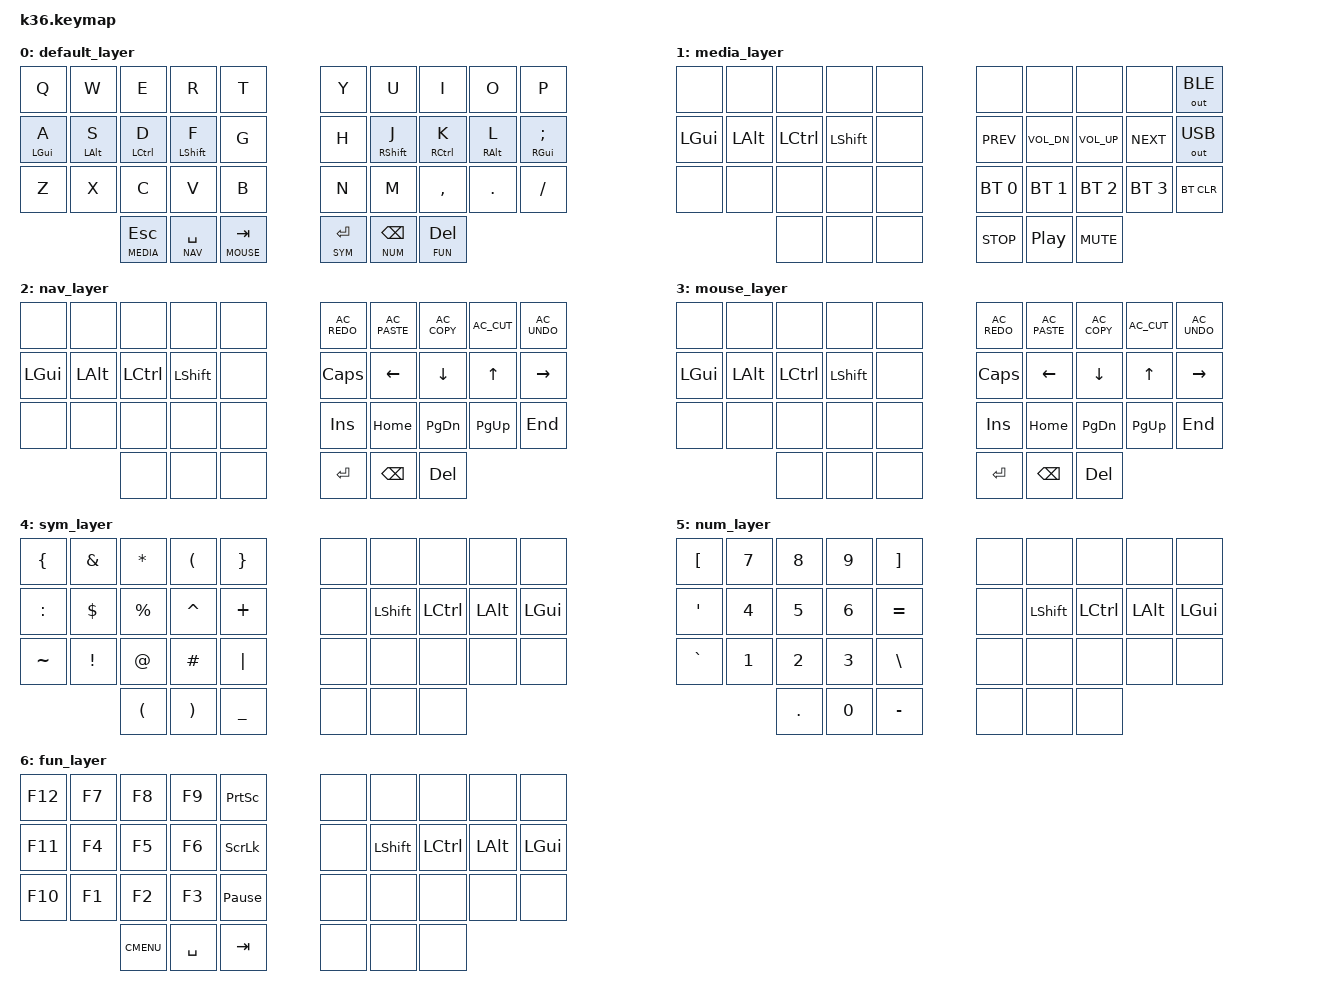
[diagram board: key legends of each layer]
#include <behaviors.dtsi>
#include <dt-bindings/zmk/keys.h>
#include <dt-bindings/zmk/bt.h>
#include <dt-bindings/zmk/ext_power.h>
#include <dt-bindings/zmk/outputs.h>

#define DEFAULT 0
#define MEDIA 1
#define NAV 2
#define MOUSE 3
#define SYM 4
#define NUM 5
#define FUN 6

/ {
	behaviors {
		hm: homerow_mods {
			compatible = "zmk,behavior-hold-tap";
			label = "HOMEROW_MODS";
			#binding-cells = <2>;
			tapping-term-ms = <200>;
			quick_tap_ms = <125>;
			global-quick-tap;
			flavor = "tap-preferred";
			bindings = <&kp>, <&kp>;
		};
  };

	keymap {
		compatible = "zmk,keymap";

		default_layer {
			bindings = <
// ╭───────────────┬───────────────┬───────────────┬───────────────┬───────────────╮   ╭───────────────┬───────────────┬───────────────┬───────────────┬───────────────╮
	   &kp Q           &kp W           &kp E           &kp R           &kp T               &kp Y           &kp U           &kp I           &kp O           &kp P   
// ├───────────────┼───────────────┼───────────────┼───────────────┼───────────────┤   ├───────────────┼───────────────┼───────────────┼───────────────┼───────────────┤
     &hm LGUI A      &hm LALT S      &hm LCTRL D     &hm LSHFT F     &kp G               &kp H           &hm RSHFT J     &hm RCTRL K     &hm RALT L      &hm RGUI SEMI
// ├───────────────┼───────────────┼───────────────┼───────────────┼───────────────┤   ├───────────────┼───────────────┼───────────────┼───────────────┼───────────────┤
	   &kp Z           &kp X           &kp C           &kp V           &kp B               &kp N           &kp M           &kp COMMA       &kp DOT         &kp FSLH
// ╰───────────────┴───────────────┴───────────────┼───────────────┼───────────────┤   ├───────────────┼───────────────┼───────────────┴───────────────┴───────────────╯
	                                   &lt MEDIA ESC   &lt NAV SPC     &lt MOUSE TAB       &lt SYM RET     &lt NUM BSPC    &lt FUN DEL
//                                 ╰───────────────┴───────────────┴───────────────╯   ╰───────────────┴───────────────┴───────────────╯
>;
		};

		media_layer {
			bindings = <
// ╭───────────────┬───────────────┬───────────────┬───────────────┬───────────────╮   ╭───────────────┬───────────────┬───────────────┬───────────────┬───────────────╮
     &none           &none           &none           &none           &none               &none           &none           &none           &none           &out OUT_BLE
// ├───────────────┼───────────────┼───────────────┼───────────────┼───────────────┤   ├───────────────┼───────────────┼───────────────┼───────────────┼───────────────┤
	   &kp LGUI        &kp LALT        &kp LCTRL       &kp LSHIFT      &none               &kp C_PREV      &kp C_VOL_DN    &kp C_VOL_UP    &kp C_NEXT      &out OUT_USB
// ├───────────────┼───────────────┼───────────────┼───────────────┼───────────────┤   ├───────────────┼───────────────┼───────────────┼───────────────┼───────────────┤
	   &none           &none           &none           &none           &none               &bt BT_SEL 0    &bt BT_SEL 1    &bt BT_SEL 2    &bt BT_SEL 3    &bt BT_CLR
// ╰───────────────┴───────────────┴───────────────┼───────────────┼───────────────┤   ├───────────────┼───────────────┼───────────────┴───────────────┴───────────────╯
	                                   &none           &none           &none               &kp C_STOP      &kp C_PP        &kp C_MUTE
//                                 ╰───────────────┴───────────────┴───────────────╯   ╰───────────────┴───────────────┴───────────────╯
>;
		};

		nav_layer {
			bindings = <
// ╭───────────────┬───────────────┬───────────────┬───────────────┬───────────────╮   ╭───────────────┬───────────────┬───────────────┬───────────────┬───────────────╮
	   &none           &none           &none           &none           &none               &kp C_AC_REDO   &kp C_AC_PASTE  &kp C_AC_COPY   &kp C_AC_CUT    &kp C_AC_UNDO
// ├───────────────┼───────────────┼───────────────┼───────────────┼───────────────┤   ├───────────────┼───────────────┼───────────────┼───────────────┼───────────────┤
	   &kp LGUI        &kp LALT        &kp LCTRL       &kp LSHIFT      &none               &kp CAPSLOCK    &kp LEFT        &kp DOWN        &kp UP          &kp RIGHT       
// ├───────────────┼───────────────┼───────────────┼───────────────┼───────────────┤   ├───────────────┼───────────────┼───────────────┼───────────────┼───────────────┤
	   &none           &none           &none           &none           &none               &kp INSERT      &kp HOME        &kp PG_DN       &kp PG_UP       &kp END         
// ╰───────────────┴───────────────┴───────────────┼───────────────┼───────────────┤   ├───────────────┼───────────────┼───────────────┴───────────────┴───────────────╯
	                                   &none           &none           &none               &kp RET         &kp BSPC        &kp DEL
//                                 ╰───────────────┴───────────────┴───────────────╯   ╰───────────────┴───────────────┴───────────────╯
>;
		};

    /* This needs to be implemented when mouse keys hits ZMK's main branch */
		mouse_layer {
			bindings = <
// ╭───────────────┬───────────────┬───────────────┬───────────────┬───────────────╮   ╭───────────────┬───────────────┬───────────────┬───────────────┬───────────────╮
	   &none           &none           &none           &none           &none               &kp C_AC_REDO   &kp C_AC_PASTE  &kp C_AC_COPY   &kp C_AC_CUT   &kp C_AC_UNDO
// ├───────────────┼───────────────┼───────────────┼───────────────┼───────────────┤   ├───────────────┼───────────────┼───────────────┼───────────────┼───────────────┤
	   &kp LGUI        &kp LALT        &kp LCTRL       &kp LSHIFT      &none               &kp CAPSLOCK    &kp LEFT        &kp DOWN        &kp UP          &kp RIGHT      
// ├───────────────┼───────────────┼───────────────┼───────────────┼───────────────┤   ├───────────────┼───────────────┼───────────────┼───────────────┼───────────────┤
	   &none           &none           &none           &none           &none               &kp INSERT      &kp HOME        &kp PG_DN       &kp PG_UP       &kp END        
// ╰───────────────┴───────────────┴───────────────┼───────────────┼───────────────┤   ├───────────────┼───────────────┼───────────────┴───────────────┴───────────────╯
	                                   &none           &none           &none               &kp RET         &kp BSPC        &kp DEL
//                                 ╰───────────────┴───────────────┴───────────────╯   ╰───────────────┴───────────────┴───────────────╯
>;
		};

		sym_layer {
			bindings = <
// ╭───────────────┬───────────────┬───────────────┬───────────────┬───────────────╮   ╭───────────────┬───────────────┬───────────────┬───────────────┬───────────────╮
	   &kp LBRC        &kp AMPS        &kp STAR        &kp LPAR        &kp RBRC            &none           &none           &none           &none           &none
// ├───────────────┼───────────────┼───────────────┼───────────────┼───────────────┤   ├───────────────┼───────────────┼───────────────┼───────────────┼───────────────┤
	   &kp COLON       &kp DLLR        &kp PRCNT       &kp CARET       &kp PLUS            &none           &kp LSHIFT      &kp LCTRL       &kp LALT        &kp LGUI
// ├───────────────┼───────────────┼───────────────┼───────────────┼───────────────┤   ├───────────────┼───────────────┼───────────────┼───────────────┼───────────────┤
	   &kp TILDE       &kp EXCL        &kp AT          &kp POUND       &kp PIPE            &none           &none           &none           &none           &none
// ╰───────────────┴───────────────┴───────────────┼───────────────┼───────────────┤   ├───────────────┼───────────────┼───────────────┴───────────────┴───────────────╯
      	                             &kp LPAR        &kp RPAR        &kp UNDER           &none           &none           &none
//                                 ╰───────────────┴───────────────┴───────────────╯   ╰───────────────┴───────────────┴───────────────╯
>;
		};

		num_layer {
			bindings = <
// ╭───────────────┬───────────────┬───────────────┬───────────────┬───────────────╮   ╭───────────────┬───────────────┬───────────────┬───────────────┬───────────────╮
	     &kp LBKT          &kp N7          &kp N8          &kp N9         &kp RBKT            &none           &none           &none           &none           &none
// ├───────────────┼───────────────┼───────────────┼───────────────┼───────────────┤   ├───────────────┼───────────────┼───────────────┼───────────────┼───────────────┤
	     &kp SQT           &kp N4          &kp N5          &kp N6         &kp EQUAL           &none           &kp LSHIFT      &kp LCTRL       &kp LALT        &kp LGUI
// ├───────────────┼───────────────┼───────────────┼───────────────┼───────────────┤   ├───────────────┼───────────────┼───────────────┼───────────────┼───────────────┤
	    &kp GRAVE          &kp N1          &kp N2          &kp N3         &kp BSLH            &none           &none           &none           &none           &none
// ╰───────────────┴───────────────┴───────────────┼───────────────┼───────────────┤   ├───────────────┼───────────────┼───────────────┴───────────────┴───────────────╯
	                                      &kp DOT          &kp N0        &kp MINUS            &none           &none           &none
//                                 ╰───────────────┴───────────────┴───────────────╯   ╰───────────────┴───────────────┴───────────────╯
>;
		};

		fun_layer {
			bindings = <
// ╭───────────────┬───────────────┬───────────────┬───────────────┬───────────────╮   ╭───────────────┬───────────────┬───────────────┬───────────────┬───────────────╮
	      &kp F12          &kp F7          &kp F8          &kp F9        &kp PSCRN             &none           &none           &none          &none           &none
// ├───────────────┼───────────────┼───────────────┼───────────────┼───────────────┤   ├───────────────┼───────────────┼───────────────┼───────────────┼───────────────┤
   	    &kp F11          &kp F4          &kp F5          &kp F6        &kp SLCK              &none         &kp LSHIFT      &kp LCTRL       &kp LALT       &kp LGUI
// ├───────────────┼───────────────┼───────────────┼───────────────┼───────────────┤   ├───────────────┼───────────────┼───────────────┼───────────────┼───────────────┤
   	    &kp F10          &kp F1          &kp F2          &kp F3     &kp PAUSE_BREAK          &none           &none           &none           &none           &none
// ╰───────────────┴───────────────┴───────────────┼───────────────┼───────────────┤   ├───────────────┼───────────────┼───────────────┴───────────────┴───────────────╯
	                                    &kp K_CMENU       &kp SPC         &kp TAB              &none           &none           &none
//                                 ╰───────────────┴───────────────┴───────────────╯   ╰───────────────┴───────────────┴───────────────╯
>;
		};
	};
};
